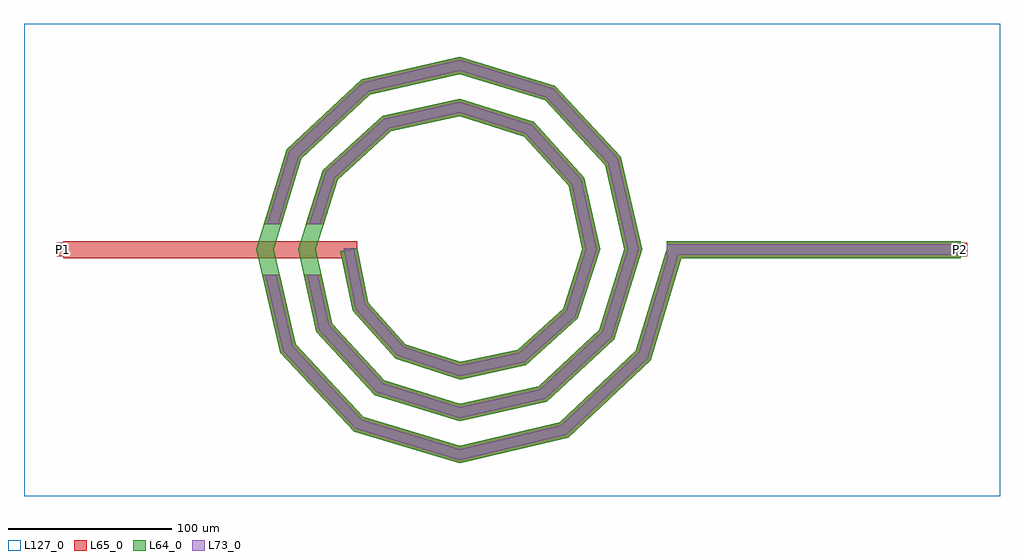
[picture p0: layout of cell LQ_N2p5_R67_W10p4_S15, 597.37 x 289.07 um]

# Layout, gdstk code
import gdstk
lib = gdstk.Library(unit=1e-6, precision=1e-09)
def R(c, l, rs):  # rectangles x0, y0, x1, y1
    for r in rs: c.add(gdstk.rectangle(r[:2], r[2:], *l))
def P(c, l, *ps):  # polygons
    for p in ps: c.add(gdstk.Polygon(p, *l))
L64_0 = (64, 0)
L65_0 = (65, 0)
L73_0 = (73, 0)
L127_0 = (127, 0)

lq_n2p5_r67_w10p4_s15 = lib.new_cell('LQ_N2p5_R67_W10p4_S15')
R(lq_n2p5_r67_w10p4_s15, L64_0, [(126.799,-5.2,306.799,5.2)])
P(lq_n2p5_r67_w10p4_s15, L64_0, [(-55.735,-32.534),(-33.079,-57.892),(0.29,-68.816),(35.722,-61.31),(63.441,-36.312),(75.238,0.267),(66.882,38.914),(39.54,68.992),(0.247,81.66),(-42.109,72.453),(-74.545,42.767),(-88.082,0.23),(-78.023,-45.306),(-45.992,-80.099),(0.215,-94.505),(48.505,-83.592),(85.655,-49.215),(100.927,0.202),(89.161,51.706),(52.436,91.211),(0.191,107.35),(-54.907,94.728),(-96.768,55.657),(-113.773,0.18),(-100.295,-58.11),(-58.876,-102.325),(0.171,-120.195),(61.314,-105.862),(107.883,-62.095),(127.02,1.498),(136.979,-1.498),(117.038,-67.763),(66.404,-115.351),(0.171,-130.958),(-64.559,-111.471),(-109.793,-63.184),(-124.534,0.18),(-105.904,61.356),(-59.964,104.235),(0.191,118.111),(58.153,100.336),(98.678,56.743),(111.688,0.202),(94.767,-54.952),(53.52,-93.121),(0.215,-105.264),(-51.752,-89.197),(-87.565,-50.296),(-98.841,0.23),(-83.627,48.554),(-47.07,82.01),(0.247,92.417),(45.357,78.055),(76.457,43.842),(85.993,0.267),(72.481,-42.163),(40.612,-70.904),(0.29,-79.57),(-38.972,-66.906),(-65.354,-37.377),(-72.862,-1.053),(-62.677,1.053)])
R(lq_n2p5_r67_w10p4_s15, L65_0, [(-242.57,-5.2,-62.57,5.2), (126.799,-5.2,306.799,5.2), (-246.57,-4,-238.57,4), (302.799,-4,310.799,4)])
P(lq_n2p5_r67_w10p4_s15, L65_0, [(-100.295,-58.11),(-58.876,-102.325),(0.171,-120.195),(61.314,-105.862),(107.883,-62.095),(127.02,1.498),(136.979,-1.498),(117.038,-67.763),(66.404,-115.351),(0.171,-130.958),(-64.559,-111.471),(-109.793,-63.184),(-120.863,-15.6),(-110.185,-15.6)],
  [(-78.023,-45.306),(-45.992,-80.1),(0.215,-94.505),(48.505,-83.592),(85.655,-49.215),(100.927,0.202),(89.161,51.706),(52.436,91.211),(0.191,107.35),(-54.908,94.728),(-96.768,55.657),(-108.967,15.6),(-119.838,15.6),(-105.904,61.356),(-59.964,104.235),(0.191,118.111),(58.153,100.336),(98.678,56.743),(111.688,0.202),(94.767,-54.952),(53.52,-93.121),(0.215,-105.264),(-51.752,-89.197),(-87.565,-50.296),(-95.308,-15.6),(-84.652,-15.6)],
  [(-33.08,-57.892),(0.29,-68.816),(35.722,-61.31),(63.441,-36.312),(75.238,0.267),(66.882,38.914),(39.541,68.992),(0.247,81.66),(-42.109,72.453),(-74.545,42.767),(-83.099,15.6),(-94.002,15.6),(-83.627,48.554),(-47.071,82.011),(0.247,92.417),(45.357,78.055),(76.457,43.843),(85.994,0.267),(72.481,-42.163),(40.612,-70.904),(0.29,-79.57),(-38.972,-66.906),(-65.354,-37.377),(-72.862,-1.053),(-62.677,1.053),(-55.735,-32.533)])
R(lq_n2p5_r67_w10p4_s15, L73_0, [(126.799,-3.2,306.799,3.2)])
P(lq_n2p5_r67_w10p4_s15, L73_0, [(-102.122,-59.086),(-59.969,-104.084),(0.105,-122.265),(62.293,-107.687),(109.644,-63.185),(128.935,0.922),(135.064,0.922),(115.278,-66.673),(65.425,-113.526),(0.105,-128.888),(-63.466,-109.712),(-107.966,-62.208),(-118.81,-15.6),(-112.239,-15.6)],
  [(-79.858,-46.266),(-47.099,-81.849),(0.132,-96.574),(49.47,-85.425),(87.407,-50.318),(102.997,0.124),(90.991,52.674),(53.536,92.966),(0.117,109.419),(-55.88,96.557),(-98.525,56.753),(-111.058,15.6),(-117.748,15.6),(-104.147,60.26),(-58.992,102.407),(0.117,116.042),(57.054,98.581),(96.848,55.774),(109.618,0.124),(93.015,-53.849),(52.556,-91.289),(0.132,-103.195),(-50.644,-87.448),(-85.73,-49.337),(-93.259,-15.6),(-86.702,-15.6)],
  [(-34.213,-59.625),(0.178,-70.884),(36.662,-63.155),(65.18,-37.437),(77.306,0.164),(68.723,39.862),(40.659,70.735),(0.152,83.729),(-43.063,74.291),(-76.292,43.88),(-85.195,15.6),(-91.905,15.6),(-81.88,47.441),(-46.116,80.173),(0.152,90.349),(44.239,76.312),(74.616,42.895),(83.925,0.164),(70.743,-41.038),(39.671,-69.059),(0.178,-77.502),(-37.839,-65.172),(-63.504,-36.446),(-70.904,0.648),(-64.636,0.648),(-57.585,-33.465)])
R(lq_n2p5_r67_w10p4_s15, L127_0, [(-266.57,-150.958,330.799,138.111)])
lq_n2p5_r67_w10p4_s15.add(gdstk.Label('P2', (306.799,0), layer=65, texttype=0))
lq_n2p5_r67_w10p4_s15.add(gdstk.Label('P1', (-242.57,0), layer=65, texttype=0))
lq_n2p5_r67_w10p4_s15.add(gdstk.Label('P2', (310.799,0), layer=145, texttype=0))
lq_n2p5_r67_w10p4_s15.add(gdstk.Label('P1', (-246.57,0), layer=145, texttype=0))

lib.write_gds('LQ_N2p5_R67_W10p4_S15.gds')
